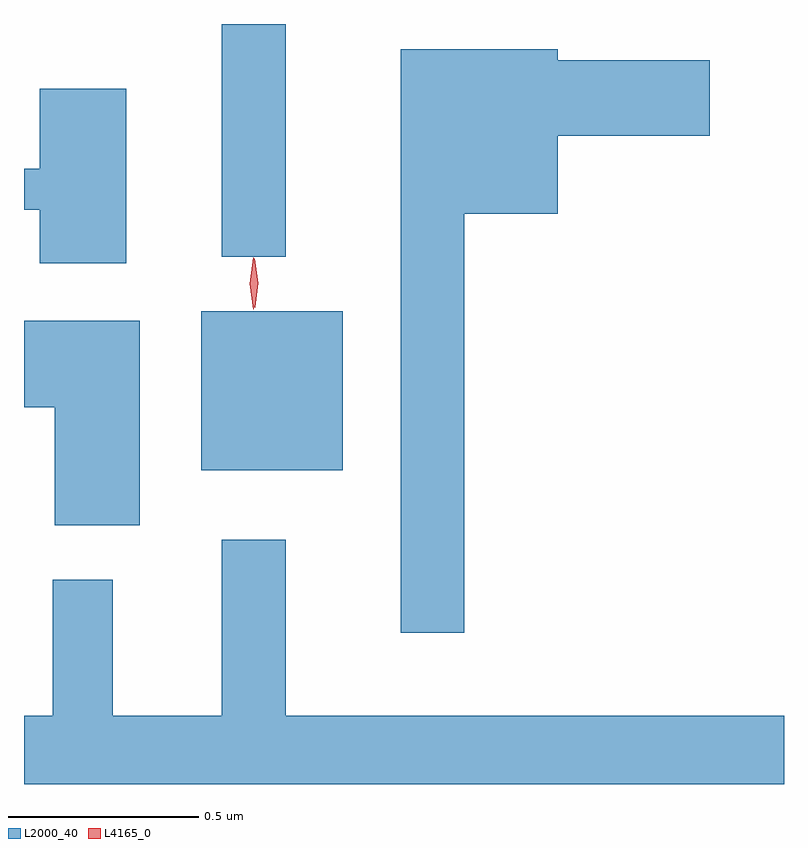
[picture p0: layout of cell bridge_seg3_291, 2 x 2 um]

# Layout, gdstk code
import gdstk
lib = gdstk.Library(unit=1e-6, precision=1e-09)
def R(c, l, rs):  # rectangles x0, y0, x1, y1
    for r in rs: c.add(gdstk.rectangle(r[:2], r[2:], *l))
def P(c, l, *ps):  # polygons
    for p in ps: c.add(gdstk.Polygon(p, *l))
L2000_40 = (2000, 40)
L4165_0 = (4165, 0)

bridge_seg3_291 = lib.new_cell('bridge_seg3_291')
R(bridge_seg3_291, L2000_40, [(1103.296,1144.691,1103.669,1145.109), (1103.351,1145.253,1103.519,1145.865)])
P(bridge_seg3_291, L2000_40, [(1103.989,1145.366),(1104.234,1145.366),(1104.234,1145.571),(1104.634,1145.571),(1104.634,1145.769),(1104.234,1145.769),(1104.234,1145.799),(1103.821,1145.799),(1103.821,1144.263),(1103.989,1144.263)],
  [(1103.099,1145.694),(1102.871,1145.694),(1102.871,1145.484),(1102.83,1145.484),(1102.83,1145.376),(1102.871,1145.376),(1102.871,1145.236),(1103.099,1145.236)],
  [(1103.134,1145.084),(1102.83,1145.084),(1102.83,1144.856),(1102.911,1144.856),(1102.911,1144.546),(1103.134,1144.546)],
  [(1104.83,1144.044),(1103.519,1144.044),(1103.519,1144.508),(1103.351,1144.508),(1103.351,1144.044),(1103.064,1144.044),(1103.064,1144.403),(1102.906,1144.403),(1102.906,1144.044),(1102.83,1144.044),(1102.83,1143.865),(1104.83,1143.865)])
P(bridge_seg3_291, L4165_0, [(1103.433,1145.114),(1103.424,1145.182),(1103.433,1145.25),(1103.434,1145.25),(1103.434,1145.25),(1103.444,1145.182),(1103.434,1145.114),(1103.434,1145.114)],
  [(1103.438,1145.118),(1103.437,1145.119),(1103.428,1145.183),(1103.436,1145.247),(1103.437,1145.247),(1103.437,1145.247),(1103.447,1145.183),(1103.438,1145.119)])

lib.write_gds('bridge_seg3_291.gds')
